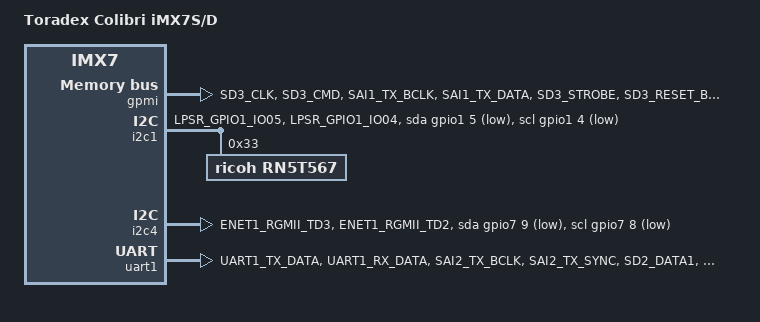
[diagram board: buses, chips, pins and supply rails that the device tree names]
// SPDX-License-Identifier: GPL-2.0+ OR X11
/*
 * Copyright 2016 Toradex AG
 */

/dts-v1/;
#include <dt-bindings/gpio/gpio.h>
#include "imx7d.dtsi"

/ {
	model = "Toradex Colibri iMX7S/D";
	compatible = "toradex,imx7-colibri", "fsl,imx7";

	chosen {
		stdout-path = &uart1;
	};
};

&gpmi {
	pinctrl-names = "default";
	pinctrl-0 = <&pinctrl_gpmi_nand>;
	fsl,use-minimum-ecc;
	nand-on-flash-bbt;
	nand-ecc-mode = "hw";
	status = "okay";
};

&i2c1 {
	pinctrl-names = "default", "gpio";
	pinctrl-0 = <&pinctrl_i2c1>;
	pinctrl-1 = <&pinctrl_i2c1_gpio>;
	sda-gpios = <&gpio1 5 GPIO_ACTIVE_LOW>;
	scl-gpios = <&gpio1 4 GPIO_ACTIVE_LOW>;
	status = "okay";

	rn5t567@33 {
		compatible = "ricoh,rn5t567";
		reg = <0x33>;
	};
};

&i2c4 {
	pinctrl-names = "default", "gpio";
	pinctrl-0 = <&pinctrl_i2c4>;
	pinctrl-1 = <&pinctrl_i2c4_gpio>;
	sda-gpios = <&gpio7 9 GPIO_ACTIVE_LOW>;
	scl-gpios = <&gpio7 8 GPIO_ACTIVE_LOW>;
	status = "okay";
};

&uart1 {
	pinctrl-names = "default";
	pinctrl-0 = <&pinctrl_uart1 &pinctrl_uart1_ctrl1>;
	uart-has-rtscts;
	fsl,dte-mode;
	status = "okay";
};

&iomuxc {
	pinctrl_gpmi_nand: gpmi-nand-grp {
		fsl,pins = <
			MX7D_PAD_SD3_CLK__NAND_CLE		0x71
			MX7D_PAD_SD3_CMD__NAND_ALE		0x71
			MX7D_PAD_SAI1_TX_BCLK__NAND_CE0_B	0x71
			MX7D_PAD_SAI1_TX_DATA__NAND_READY_B	0x74
			MX7D_PAD_SD3_STROBE__NAND_RE_B		0x71
			MX7D_PAD_SD3_RESET_B__NAND_WE_B		0x71
			MX7D_PAD_SD3_DATA0__NAND_DATA00		0x71
			MX7D_PAD_SD3_DATA1__NAND_DATA01		0x71
			MX7D_PAD_SD3_DATA2__NAND_DATA02		0x71
			MX7D_PAD_SD3_DATA3__NAND_DATA03		0x71
			MX7D_PAD_SD3_DATA4__NAND_DATA04		0x71
			MX7D_PAD_SD3_DATA5__NAND_DATA05		0x71
			MX7D_PAD_SD3_DATA6__NAND_DATA06		0x71
			MX7D_PAD_SD3_DATA7__NAND_DATA07		0x71
		>;
	};

	pinctrl_i2c4: i2c4-grp {
		fsl,pins = <
			MX7D_PAD_ENET1_RGMII_TD3__I2C4_SDA	0x4000007f
			MX7D_PAD_ENET1_RGMII_TD2__I2C4_SCL	0x4000007f
		>;
	};

	pinctrl_i2c4_gpio: i2c4-gpio-grp {
			fsl,pins = <
			MX7D_PAD_ENET1_RGMII_TD3__GPIO7_IO9	0x4000007f
			MX7D_PAD_ENET1_RGMII_TD2__GPIO7_IO8	0x4000007f
		>;
	};

	pinctrl_uart1: uart1-grp {
		fsl,pins = <
			MX7D_PAD_UART1_TX_DATA__UART1_DTE_RX	0x79
			MX7D_PAD_UART1_RX_DATA__UART1_DTE_TX	0x79
			MX7D_PAD_SAI2_TX_BCLK__UART1_DTE_CTS	0x79
			MX7D_PAD_SAI2_TX_SYNC__UART1_DTE_RTS	0x79
		>;
	};

	pinctrl_uart1_ctrl1: uart1-ctrl1-grp {
		fsl,pins = <
			MX7D_PAD_SD2_DATA1__GPIO5_IO15		0x14 /* DCD */
			MX7D_PAD_SD2_DATA0__GPIO5_IO14		0x14 /* DTR */
		>;
	};
};

&iomuxc_lpsr {
	pinctrl_i2c1: i2c1-grp {
		fsl,pins = <
			MX7D_PAD_LPSR_GPIO1_IO05__I2C1_SDA	0x4000007f
			MX7D_PAD_LPSR_GPIO1_IO04__I2C1_SCL	0x4000007f
		>;
	};

	pinctrl_i2c1_gpio: i2c1-gpio-grp {
		fsl,pins = <
			MX7D_PAD_LPSR_GPIO1_IO05__GPIO1_IO5	0x4000007f
			MX7D_PAD_LPSR_GPIO1_IO04__GPIO1_IO4	0x4000007f
		>;
	};
};
